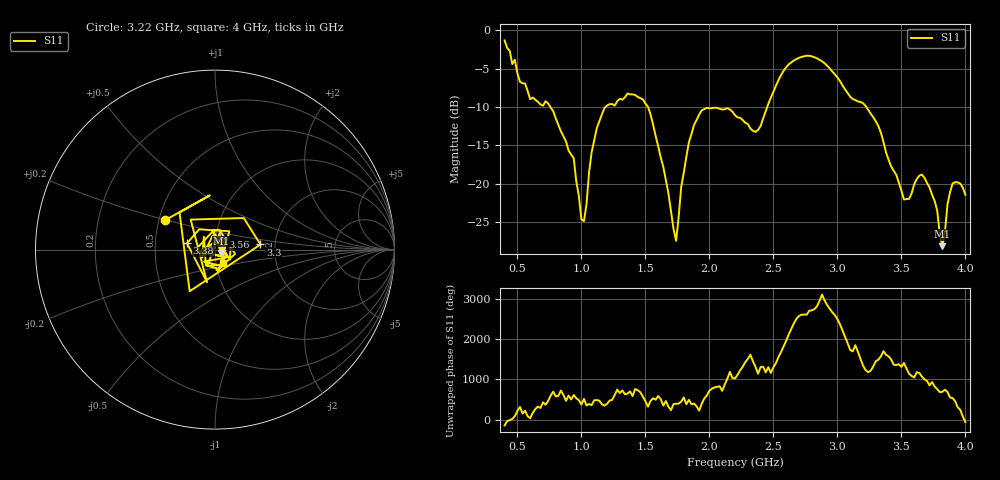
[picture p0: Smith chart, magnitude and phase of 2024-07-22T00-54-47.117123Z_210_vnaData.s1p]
!Created with skrf (http://scikit-rf.org).
# Hz S RI R 50.0
!freq ReS11 ImS11
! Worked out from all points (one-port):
!   181 points, 400 MHz to 4 GHz, reference 50 ohm
!   lowest |S11| = -28.1 dB at 3.82 GHz (marker M1), VSWR 1.08, Z = 53.5 - j2.02 ohm
!   |S11| at or under -10 dB: 757.3 MHz to 1.188 GHz (430.9 MHz wide, 44.3 % of centre); 1.521 GHz to 2.452 GHz (931 MHz wide, 46.9 % of centre); 3.226 GHz to end of sweep
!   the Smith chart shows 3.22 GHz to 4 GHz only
!   S11 on the Smith chart (normalised r, x): 3.22 GHz: 0.54, +0.20; 3.3 GHz: 1.68, +0.10; 3.38 GHz: 0.73, +0.05; 3.56 GHz: 1.07, +0.15; 4 GHz: 1.08, -0.16
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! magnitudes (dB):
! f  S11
! 400 MHz  -1.3
! 600 MHz  -9.0
! 740 MHz  -9.5
! 860 MHz  -13.8
! 940 MHz  -16.7
! 1 GHz  -24.6
! 1.02 GHz  -24.8
! 1.12 GHz  -12.8
! 1.3 GHz  -8.9
! 1.52 GHz  -10.0
! 1.74 GHz  -27.4
! 1.76 GHz  -24.3
! 1.84 GHz  -14.6
! 1.92 GHz  -11.0
! 2.2 GHz  -11.1
! 2.38 GHz  -13.0
! 2.66 GHz  -3.9
! 2.88 GHz  -4.0
! 3.1 GHz  -8.7
! 3.22 GHz  -9.8
! 3.3 GHz  -11.9
! 3.38 GHz  -15.9
! 3.56 GHz  -22.0
! 3.68 GHz  -19.2
! 3.78 GHz  -23.5
! 3.82 GHz  -28.1
! 3.9 GHz  -20.0
! 4 GHz  -21.4
